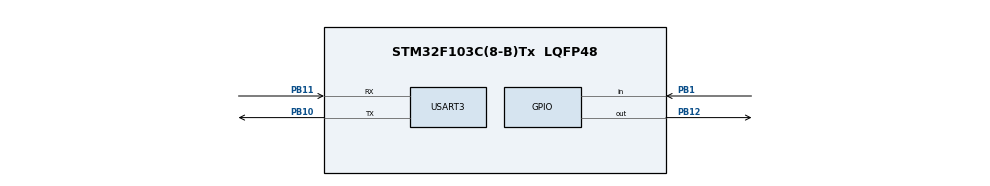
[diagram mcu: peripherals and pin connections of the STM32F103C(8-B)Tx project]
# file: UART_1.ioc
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Mcu.Family=STM32F1
RCC.APB2Freq_Value=8000000
PD1-OSC_OUT.Mode=HSE-External-Oscillator
PA14.Mode=Serial_Wire
PB10.Mode=Asynchronous
PA13.Mode=Serial_Wire
Mcu.Name=STM32F103C(8-B)Tx
PD0-OSC_IN.Signal=RCC_OSC_IN
PB11.Signal=USART3_RX
Mcu.Package=LQFP48
PB1.Signal=GPIO_Input
ProjectManager.StackSize=0x400
PD1-OSC_OUT.Signal=RCC_OSC_OUT
USART3.VirtualMode=VM_ASYNC
PA13.Signal=SYS_JTMS-SWDIO
PA14.Signal=SYS_JTCK-SWCLK
ProjectManager.HeapSize=0x200
PB11.Mode=Asynchronous
ProjectManager.TargetToolchain=STM32CubeIDE
NVIC.PriorityGroup=NVIC_PRIORITYGROUP_4
RCC.APB1Freq_Value=8000000
PB10.Signal=USART3_TX
PD0-OSC_IN.Mode=HSE-External-Oscillator
PB12.Signal=GPIO_Output
board=custom

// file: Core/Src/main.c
/* USER CODE BEGIN Header */
/**
  ******************************************************************************
  * @file           : main.c
  * @brief          : Main program body
  ******************************************************************************
  * @attention
  *
  * <h2><center>&copy; Copyright (c) 2021 STMicroelectronics.
  * All rights reserved.</center></h2>
  *
  * This software component is licensed by ST under BSD 3-Clause license,
  * the "License"; You may not use this file except in compliance with the
  * License. You may obtain a copy of the License at:
  *                        opensource.org/licenses/BSD-3-Clause
  *
  ******************************************************************************
  */
/* USER CODE END Header */
#include "main.h"

/* USER CODE BEGIN Includes */
#include "communicationUart.h"
/* USER CODE END Includes */

/* USER CODE BEGIN PM */
#define R_SIZE	50
/* USER CODE END PM */

UART_HandleTypeDef huart3;

void SystemClock_Config(void);
static void MX_GPIO_Init(void);
static void MX_USART3_UART_Init(void);

int main(void)
{
  /* USER CODE BEGIN 1 */
  uint8_t received = 0;
  uint8_t data_t[11] = "Hola mundo#";
  uint8_t data_r[R_SIZE] = "";
  int bytes_to_send;
  /* USER CODE END 1 */

  /* MCU Configuration--------------------------------------------------------*/

  /* Reset of all peripherals, Initializes the Flash interface and the Systick. */
  HAL_Init();

  /* Configure the system clock */
  SystemClock_Config();

  /* Initialize all configured peripherals */
  MX_GPIO_Init();
  MX_USART3_UART_Init();

  /* Infinite loop */
  while (1)
  {

    /* USER CODE BEGIN 3 */
	  uartEnableTransmit();
	  if( HAL_UART_Transmit(&huart3, data_t, 11, HAL_MAX_DELAY) != HAL_OK ){
		  Error_Handler();
	  }

	  received = HAL_OK;
	  while( received != HAL_TIMEOUT ){
		  // Recibo con timeout de 5 segundos
		  uartEnableReceive();
		  received = HAL_UART_Receive(&huart3, data_r, 4, 5000);
		  if( received == HAL_OK ){
			  bytes_to_send = sizeUntilSlashZero(data_r, R_SIZE);

			  uartEnableTransmit();
			  HAL_UART_Transmit(&huart3, data_r, bytes_to_send, 1000);
			  clearAll(data_r, R_SIZE);
		  }
	  }

  }
  /* USER CODE END 3 */
}

void SystemClock_Config(void)
{
  RCC_OscInitTypeDef RCC_OscInitStruct = {0};
  RCC_ClkInitTypeDef RCC_ClkInitStruct = {0};

  /** Initializes the RCC Oscillators according to the specified parameters
  * in the RCC_OscInitTypeDef structure.
  */
  RCC_OscInitStruct.OscillatorType = RCC_OSCILLATORTYPE_HSI;
  RCC_OscInitStruct.HSIState = RCC_HSI_ON;
  RCC_OscInitStruct.HSICalibrationValue = RCC_HSICALIBRATION_DEFAULT;
  RCC_OscInitStruct.PLL.PLLState = RCC_PLL_NONE;
  if (HAL_RCC_OscConfig(&RCC_OscInitStruct) != HAL_OK)
  {
    Error_Handler();
  }
  /** Initializes the CPU, AHB and APB buses clocks
  */
  RCC_ClkInitStruct.ClockType = RCC_CLOCKTYPE_HCLK|RCC_CLOCKTYPE_SYSCLK
                              |RCC_CLOCKTYPE_PCLK1|RCC_CLOCKTYPE_PCLK2;
  RCC_ClkInitStruct.SYSCLKSource = RCC_SYSCLKSOURCE_HSI;
  RCC_ClkInitStruct.AHBCLKDivider = RCC_SYSCLK_DIV1;
  RCC_ClkInitStruct.APB1CLKDivider = RCC_HCLK_DIV1;
  RCC_ClkInitStruct.APB2CLKDivider = RCC_HCLK_DIV1;

  if (HAL_RCC_ClockConfig(&RCC_ClkInitStruct, FLASH_LATENCY_0) != HAL_OK)
  {
    Error_Handler();
  }
}

static void MX_USART3_UART_Init(void)
{

  huart3.Instance = USART3;
  huart3.Init.BaudRate = 115200;
  huart3.Init.WordLength = UART_WORDLENGTH_8B;
  huart3.Init.StopBits = UART_STOPBITS_1;
  huart3.Init.Parity = UART_PARITY_NONE;
  huart3.Init.Mode = UART_MODE_TX_RX;
  huart3.Init.HwFlowCtl = UART_HWCONTROL_NONE;
  huart3.Init.OverSampling = UART_OVERSAMPLING_16;
  if (HAL_UART_Init(&huart3) != HAL_OK)
  {
    Error_Handler();
  }

}

static void MX_GPIO_Init(void)
{
  GPIO_InitTypeDef GPIO_InitStruct = {0};

  /* GPIO Ports Clock Enable */
  __HAL_RCC_GPIOD_CLK_ENABLE();
  __HAL_RCC_GPIOB_CLK_ENABLE();
  __HAL_RCC_GPIOA_CLK_ENABLE();

  /*Configure GPIO pin Output Level */
  HAL_GPIO_WritePin(GPIOB, GPIO_PIN_12, GPIO_PIN_RESET);

  /*Configure GPIO pin : PB1 */
  GPIO_InitStruct.Pin = GPIO_PIN_1;
  GPIO_InitStruct.Mode = GPIO_MODE_INPUT;
  GPIO_InitStruct.Pull = GPIO_NOPULL;
  HAL_GPIO_Init(GPIOB, &GPIO_InitStruct);

  /*Configure GPIO pin : PB12 */
  GPIO_InitStruct.Pin = GPIO_PIN_12;
  GPIO_InitStruct.Mode = GPIO_MODE_OUTPUT_PP;
  GPIO_InitStruct.Pull = GPIO_NOPULL;
  GPIO_InitStruct.Speed = GPIO_SPEED_FREQ_LOW;
  HAL_GPIO_Init(GPIOB, &GPIO_InitStruct);

}

void Error_Handler(void)
{
  __disable_irq();
  while (1)
  {
  }
}

/************************ (C) COPYRIGHT STMicroelectronics *****END OF FILE****/
